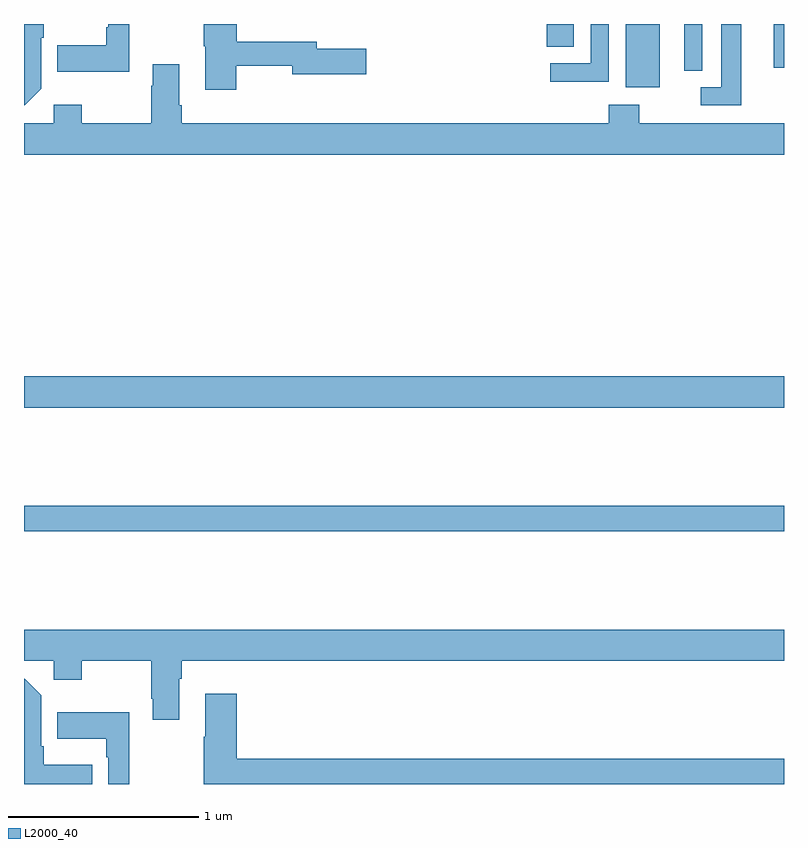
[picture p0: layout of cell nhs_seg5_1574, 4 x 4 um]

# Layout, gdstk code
import gdstk
lib = gdstk.Library(unit=1e-6, precision=1e-09)
def R(c, l, rs):  # rectangles x0, y0, x1, y1
    for r in rs: c.add(gdstk.rectangle(r[:2], r[2:], *l))
def P(c, l, *ps):  # polygons
    for p in ps: c.add(gdstk.Polygon(p, *l))
L2000_40 = (2000, 40)

nhs_seg5_1574 = lib.new_cell('nhs_seg5_1574')
R(nhs_seg5_1574, L2000_40, [(207,836.128,211,836.264), (207,836.78,211,836.944), (210.167,838.466,210.346,838.799), (210.947,838.569,211,838.799), (209.75,838.678,209.893,838.799)])
P(nhs_seg5_1574, L2000_40, [(210.57,838.799),(210.476,838.799),(210.476,838.706),(210.474,838.706),(210.474,838.552),(210.57,838.552)],
  [(210.078,838.799),(209.982,838.799),(209.982,838.593),(209.769,838.593),(209.769,838.495),(210.078,838.495)],
  [(208.116,838.578),(208.412,838.578),(208.412,838.535),(208.801,838.535),(208.801,838.67),(208.54,838.67),(208.54,838.706),(208.121,838.706),(208.121,838.799),(207.946,838.799),(207.946,838.683),(207.953,838.683),(207.953,838.452),(208.116,838.452)],
  [(210.775,838.799),(210.671,838.799),(210.671,838.467),(210.561,838.467),(210.561,838.371),(210.775,838.371)],
  [(207.09,838.458),(207.09,838.727),(207.103,838.727),(207.103,838.799),(207,838.799),(207,838.371),(207.003,838.371)],
  [(207.553,838.799),(207.444,838.799),(207.444,838.783),(207.432,838.783),(207.432,838.687),(207.175,838.687),(207.175,838.547),(207.553,838.547)],
  [(207.156,838.375),(207.156,838.276),(207,838.276),(207,838.112),(211,838.112),(211,838.276),(210.237,838.276),(210.237,838.375),(210.077,838.375),(210.077,838.276),(207.83,838.276),(207.83,838.372),(207.817,838.372),(207.817,838.588),(207.677,838.588),(207.677,838.475),(207.67,838.475),(207.67,838.276),(207.303,838.276),(207.303,838.375)],
  [(207,835.448),(207.156,835.448),(207.156,835.349),(207.303,835.349),(207.303,835.448),(207.67,835.448),(207.67,835.249),(207.677,835.249),(207.677,835.137),(207.817,835.137),(207.817,835.352),(207.83,835.352),(207.83,835.448),(211,835.448),(211,835.612),(207,835.612)],
  [(207.359,834.901),(207.103,834.901),(207.103,834.997),(207.09,834.997),(207.09,835.266),(207.003,835.353),(207,835.353),(207,834.799),(207.359,834.799)],
  [(211,834.932),(208.121,834.932),(208.121,835.273),(207.953,835.273),(207.953,835.049),(207.946,835.049),(207.946,834.799),(211,834.799)],
  [(207.553,835.177),(207.175,835.177),(207.175,835.037),(207.432,835.037),(207.432,834.941),(207.444,834.941),(207.444,834.799),(207.553,834.799)])

lib.write_gds('nhs_seg5_1574.gds')
